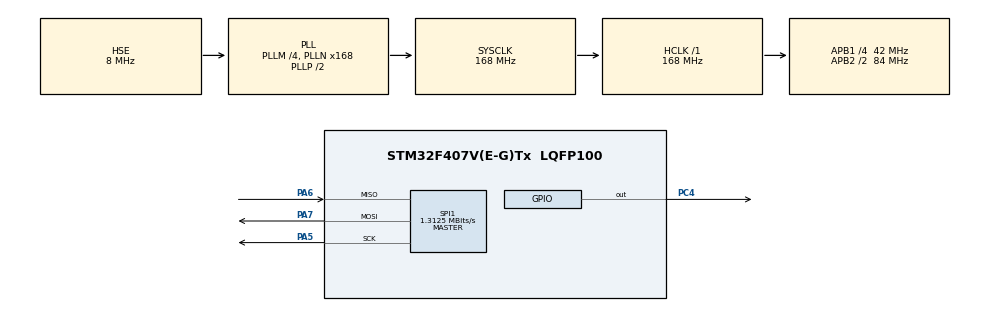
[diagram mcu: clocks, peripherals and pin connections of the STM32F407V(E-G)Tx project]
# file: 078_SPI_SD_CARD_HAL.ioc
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FATFS._MAX_SS=4096
FATFS._USE_LFN=1
Mcu.Family=STM32F4
Mcu.Name=STM32F407V(E-G)Tx
Mcu.Package=LQFP100
NVIC.PriorityGroup=NVIC_PRIORITYGROUP_0
PA5.Mode=Full_Duplex_Master
PA5.Signal=SPI1_SCK
PA6.Mode=Full_Duplex_Master
PA6.Signal=SPI1_MISO
PA7.Mode=Full_Duplex_Master
PA7.Signal=SPI1_MOSI
PC4.Signal=GPIO_Output
PH0-OSC_IN.Mode=HSE-External-Oscillator
PH0-OSC_IN.Signal=RCC_OSC_IN
PH1-OSC_OUT.Mode=HSE-External-Oscillator
PH1-OSC_OUT.Signal=RCC_OSC_OUT
ProjectManager.HeapSize=0x200
ProjectManager.StackSize=0x400
ProjectManager.TargetToolchain=STM32CubeIDE
RCC.48MHZClocksFreq_Value=48000000
RCC.AHBFreq_Value=168000000
RCC.APB1CLKDivider=RCC_HCLK_DIV4
RCC.APB1Freq_Value=42000000
RCC.APB1TimFreq_Value=84000000
RCC.APB2CLKDivider=RCC_HCLK_DIV2
RCC.APB2Freq_Value=84000000
RCC.APB2TimFreq_Value=168000000
RCC.CortexFreq_Value=168000000
RCC.HCLKFreq_Value=168000000
RCC.HSE_VALUE=8000000
RCC.HSI_VALUE=16000000
RCC.LSE_VALUE=32768
RCC.PLLM=4
RCC.PLLN=168
RCC.PLLQ=7
RCC.PLLSourceVirtual=RCC_PLLSOURCE_HSE
RCC.SYSCLKFreq_VALUE=168000000
RCC.SYSCLKSource=RCC_SYSCLKSOURCE_PLLCLK
RCC.VCOOutputFreq_Value=336000000
SPI1.BaudRatePrescaler=SPI_BAUDRATEPRESCALER_64
SPI1.CalculateBaudRate=1.3125 MBits/s
SPI1.Direction=SPI_DIRECTION_2LINES
SPI1.Mode=SPI_MODE_MASTER
SPI1.VirtualType=VM_MASTER
VP_FATFS_VS_Generic.Mode=User_defined
board=STM32F407G-DISC1

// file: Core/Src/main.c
/* USER CODE BEGIN Header */
/**
  ******************************************************************************
  * @file           : main.c
  * @brief          : Main program body
  ******************************************************************************
  * @attention
  *
  * Copyright (c) 2024 STMicroelectronics.
  * All rights reserved.
  *
  * This software is licensed under terms that can be found in the LICENSE file
  * in the root directory of this software component.
  * If no LICENSE file comes with this software, it is provided AS-IS.
  *
  ******************************************************************************
  */
/* USER CODE END Header */
#include "main.h"
#include "fatfs.h"

/* USER CODE BEGIN Includes */

#include "fatfs_sd.h"
#include "string.h"

/* USER CODE END Includes */

SPI_HandleTypeDef hspi1;

void SystemClock_Config(void);
static void MX_GPIO_Init(void);
static void MX_SPI1_Init(void);

/* USER CODE BEGIN 0 */

FATFS fs;              		//File system
FIL file;              		//File name
FRESULT fresult;       		//Fresult
char buffer[1024];

UINT br, bw;

FATFS *pfs;
DWORD fre_clust;
uint32_t total, free_space;

int bufferSize(char *buf)
{
	int i=0;
	while(*buf++ != '\0') i++;
	return i;
}

void bufferClear()
{
	for(int i=0;i<1024;i++) buffer[i] = '\0';
}
/* USER CODE END 0 */

int main(void)
{

  /* MCU Configuration--------------------------------------------------------*/

  /* Reset of all peripherals, Initializes the Flash interface and the Systick. */
  HAL_Init();

  /* Configure the system clock */
  SystemClock_Config();

  /* Initialize all configured peripherals */
  MX_GPIO_Init();
  MX_SPI1_Init();
  MX_FATFS_Init();
  /* USER CODE BEGIN 2 */

  fresult = f_mount(&fs, "", 0);
  f_getfree("", &fre_clust, &pfs);
  total = (uint32_t)((pfs->n_fatent - 2) * pfs->ssize * 0.5);
  free_space = (uint32_t)(fre_clust * pfs->csize * 0.5);

  fresult = f_open(&file, "myFile.txt", FA_CREATE_ALWAYS | FA_WRITE | FA_READ);
  f_puts("Hello world", &file);
  fresult = f_close(&file);

  /* USER CODE END 2 */

  /* Infinite loop */
  while (1)
  {

  }
}

void SystemClock_Config(void)
{
  RCC_OscInitTypeDef RCC_OscInitStruct = {0};
  RCC_ClkInitTypeDef RCC_ClkInitStruct = {0};

  /** Configure the main internal regulator output voltage
  */
  __HAL_RCC_PWR_CLK_ENABLE();
  __HAL_PWR_VOLTAGESCALING_CONFIG(PWR_REGULATOR_VOLTAGE_SCALE1);

  /** Initializes the RCC Oscillators according to the specified parameters
  * in the RCC_OscInitTypeDef structure.
  */
  RCC_OscInitStruct.OscillatorType = RCC_OSCILLATORTYPE_HSE;
  RCC_OscInitStruct.HSEState = RCC_HSE_ON;
  RCC_OscInitStruct.PLL.PLLState = RCC_PLL_ON;
  RCC_OscInitStruct.PLL.PLLSource = RCC_PLLSOURCE_HSE;
  RCC_OscInitStruct.PLL.PLLM = 4;
  RCC_OscInitStruct.PLL.PLLN = 168;
  RCC_OscInitStruct.PLL.PLLP = RCC_PLLP_DIV2;
  RCC_OscInitStruct.PLL.PLLQ = 7;
  if (HAL_RCC_OscConfig(&RCC_OscInitStruct) != HAL_OK)
  {
    Error_Handler();
  }

  /** Initializes the CPU, AHB and APB buses clocks
  */
  RCC_ClkInitStruct.ClockType = RCC_CLOCKTYPE_HCLK|RCC_CLOCKTYPE_SYSCLK
                              |RCC_CLOCKTYPE_PCLK1|RCC_CLOCKTYPE_PCLK2;
  RCC_ClkInitStruct.SYSCLKSource = RCC_SYSCLKSOURCE_PLLCLK;
  RCC_ClkInitStruct.AHBCLKDivider = RCC_SYSCLK_DIV1;
  RCC_ClkInitStruct.APB1CLKDivider = RCC_HCLK_DIV4;
  RCC_ClkInitStruct.APB2CLKDivider = RCC_HCLK_DIV2;

  if (HAL_RCC_ClockConfig(&RCC_ClkInitStruct, FLASH_LATENCY_5) != HAL_OK)
  {
    Error_Handler();
  }
}

static void MX_SPI1_Init(void)
{

  /* SPI1 parameter configuration*/
  hspi1.Instance = SPI1;
  hspi1.Init.Mode = SPI_MODE_MASTER;
  hspi1.Init.Direction = SPI_DIRECTION_2LINES;
  hspi1.Init.DataSize = SPI_DATASIZE_8BIT;
  hspi1.Init.CLKPolarity = SPI_POLARITY_LOW;
  hspi1.Init.CLKPhase = SPI_PHASE_1EDGE;
  hspi1.Init.NSS = SPI_NSS_SOFT;
  hspi1.Init.BaudRatePrescaler = SPI_BAUDRATEPRESCALER_64;
  hspi1.Init.FirstBit = SPI_FIRSTBIT_MSB;
  hspi1.Init.TIMode = SPI_TIMODE_DISABLE;
  hspi1.Init.CRCCalculation = SPI_CRCCALCULATION_DISABLE;
  hspi1.Init.CRCPolynomial = 10;
  if (HAL_SPI_Init(&hspi1) != HAL_OK)
  {
    Error_Handler();
  }

}

static void MX_GPIO_Init(void)
{
  GPIO_InitTypeDef GPIO_InitStruct = {0};

  /* GPIO Ports Clock Enable */
  __HAL_RCC_GPIOH_CLK_ENABLE();
  __HAL_RCC_GPIOA_CLK_ENABLE();
  __HAL_RCC_GPIOC_CLK_ENABLE();

  /*Configure GPIO pin Output Level */
  HAL_GPIO_WritePin(GPIOC, GPIO_PIN_4, GPIO_PIN_RESET);

  /*Configure GPIO pin : PC4 */
  GPIO_InitStruct.Pin = GPIO_PIN_4;
  GPIO_InitStruct.Mode = GPIO_MODE_OUTPUT_PP;
  GPIO_InitStruct.Pull = GPIO_NOPULL;
  GPIO_InitStruct.Speed = GPIO_SPEED_FREQ_LOW;
  HAL_GPIO_Init(GPIOC, &GPIO_InitStruct);

}

void Error_Handler(void)
{
  __disable_irq();
  while (1)
  {
  }
}
